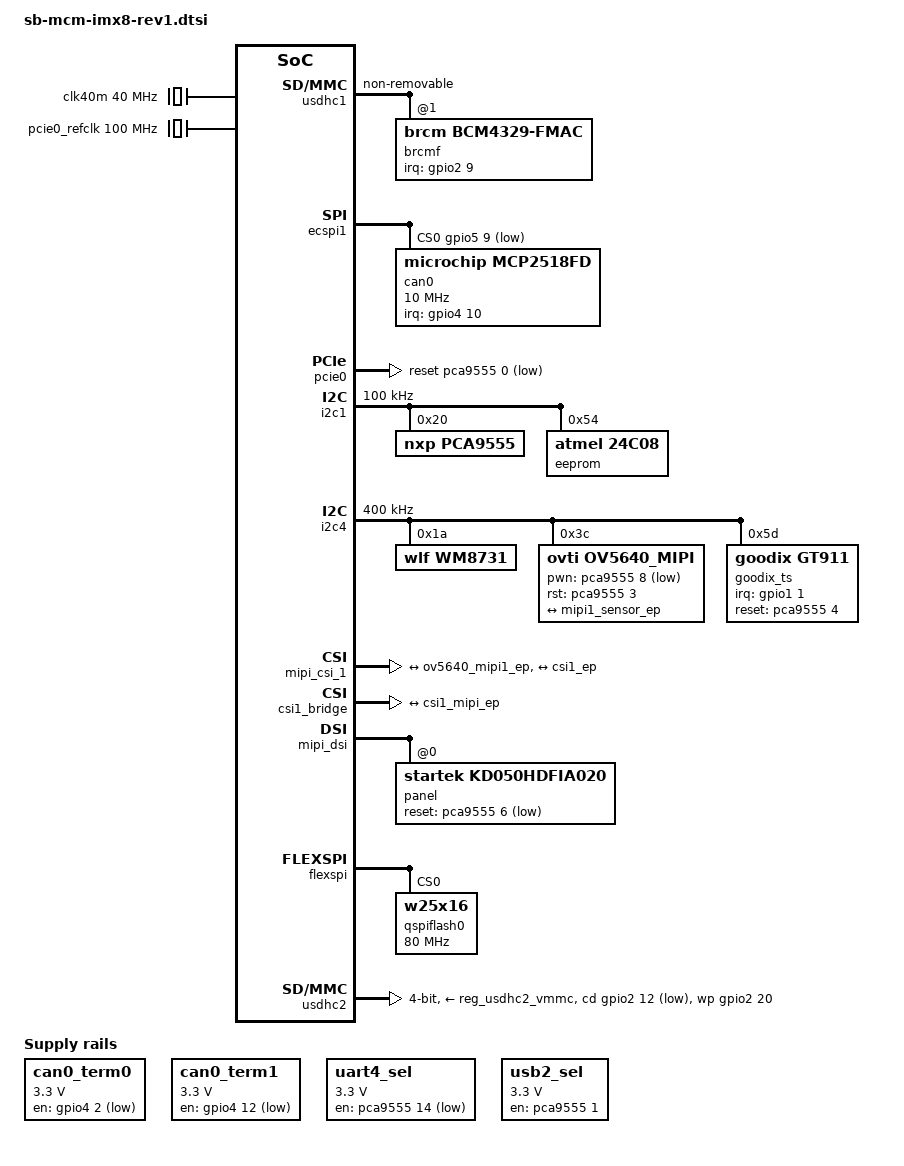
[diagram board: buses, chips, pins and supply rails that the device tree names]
/*
 * Copyright (C) 2018 CompuLab Ltd.
 *
 * This program is free software; you can redistribute it and/or
 * modify it under the terms of the GNU General Public License
 * as published by the Free Software Foundation; either version 2
 * of the License, or (at your option) any later version.
 *
 * This program is distributed in the hope that it will be useful,
 * but WITHOUT ANY WARRANTY; without even the implied warranty of
 * MERCHANTABILITY or FITNESS FOR A PARTICULAR PURPOSE. See the
 * GNU General Public License for more details.
 */

#include "../freescale/imx8mm-pinfunc.h"

/ {
	simple_sound: sound {
		compatible = "simple-audio-card";
		simple-audio-card,name = "cl-imx8m-mini";
		simple-audio-card,widgets =
			"Headphone", "Headphone Jack",
			"Line", "Line Out",
			"Microphone", "Mic Jack",
			"Line", "Line In";
		simple-audio-card,routing =
			"Headphone Jack", "RHPOUT",
			"Headphone Jack", "LHPOUT",
			"MICIN", "Mic Bias",
			"Mic Bias", "Mic Jack";
		simple-audio-card,format = "i2s";
		simple-audio-card,bitclock-master = <&sound_master>;
		simple-audio-card,frame-master = <&sound_master>;

		sound_master: simple-audio-card,cpu {
			sound-dai = <&sai2>;
			system-clock-frequency = <0>;
			system-clock-direction = "out";
		};

		sound_codec: simple-audio-card,codec {
			sound-dai = <&wm8731>;
			system-clock-direction = "in";
			system-clock-type = "mclk";
		};
	};

	clocks {
		clk40m: clk@1 {
			compatible = "fixed-clock";
			#reg = <1>;
			#clock-cells = <0>;
			clock-frequency = <40000000>;
			clock-output-names = "clk40m";
		};
	};

	regulator-can0term@0 {
		compatible = "regulator-fixed";
		regulator-name = "can0_term0";
		regulator-min-microvolt = <3300000>;
		regulator-max-microvolt = <3300000>;
		gpio = <&gpio4 2 GPIO_ACTIVE_LOW>;
		regulator-always-on;
		enable-active-low;
	};

	regulator-can0term@1 {
		compatible = "regulator-fixed";
		regulator-name = "can0_term1";
		regulator-min-microvolt = <3300000>;
		regulator-max-microvolt = <3300000>;
		gpio = <&gpio4 12 GPIO_ACTIVE_LOW>;
		regulator-always-on;
		enable-active-low;
	};

	uart4_sel: uart4sel {
		compatible = "regulator-fixed";
		regulator-name = "uart4_sel";
		regulator-min-microvolt = <3300000>;
		regulator-max-microvolt = <3300000>;
		gpio = <&pca9555 14 GPIO_ACTIVE_LOW>;
		regulator-always-on;
		enable-active-low;
	};

	usb2_sel: usb2sel {
		compatible = "regulator-fixed";
		regulator-name = "usb2_sel";
		regulator-min-microvolt = <3300000>;
		regulator-max-microvolt = <3300000>;
		gpio = <&pca9555 1 GPIO_ACTIVE_HIGH>;
		regulator-always-on;
		enable-active-high;
	};

	pcie0_refclk: pcie0-refclk {
		compatible = "fixed-clock";
		#clock-cells = <0>;
		clock-frequency = <100000000>;
	};
};

&usdhc1 {
	non-removable;
	pm-ignore-notify;
	cap-power-off-card;
	status = "okay";
	mmc-pwrseq = <&usdhc1_pwrseq>;

	brcmf: wifi@1 {
		reg = <1>;
		compatible = "brcm,bcm4329-fmac";
		interrupt-parent = <&gpio2>;
		interrupts = <9 IRQ_TYPE_LEVEL_HIGH>;
		interrupt-names = "host-wake";
	};
};

&iomuxc {
	sb-mcm-imx8 {
		pinctrl_ecspi1: ecspi1grp {
			fsl,pins = <
				MX8MM_IOMUXC_ECSPI1_SCLK_ECSPI1_SCLK	0x02
				MX8MM_IOMUXC_ECSPI1_MOSI_ECSPI1_MOSI	0x02
				MX8MM_IOMUXC_ECSPI1_MISO_ECSPI1_MISO	0x102
			>;
		};

		pinctrl_ecspi1_cs: ecspi1_csgrp {
			fsl,pins = <
				MX8MM_IOMUXC_ECSPI1_SS0_GPIO5_IO9	0x40000
			>;
		};

		pinctrl_can0: can0grp {
			fsl,pins = <
				MX8MM_IOMUXC_SAI1_TXFS_GPIO4_IO10	0x00
				MX8MM_IOMUXC_SAI1_TXD0_GPIO4_IO12	0x00
				MX8MM_IOMUXC_SAI1_RXD0_GPIO4_IO2	0x00
			>;
		};
		
		pinctrl_usdhc2_gpio: usdhc2grpgpio {
			fsl,pins = <
				MX8MM_IOMUXC_SD2_RESET_B_GPIO2_IO19	0x41
				MX8MM_IOMUXC_SD2_CD_B_GPIO2_IO12	0x41
				MX8MM_IOMUXC_SD2_WP_GPIO2_IO20		0x00
			>;
		};

		pinctrl_usdhc2: usdhc2grp {
			fsl,pins = <
				MX8MM_IOMUXC_SD2_CLK_USDHC2_CLK		0x190
				MX8MM_IOMUXC_SD2_CMD_USDHC2_CMD		0x1d0
				MX8MM_IOMUXC_SD2_DATA0_USDHC2_DATA0	0x1d0
				MX8MM_IOMUXC_SD2_DATA1_USDHC2_DATA1	0x1d0
				MX8MM_IOMUXC_SD2_DATA2_USDHC2_DATA2	0x1d0
				MX8MM_IOMUXC_SD2_DATA3_USDHC2_DATA3	0x1d0
				MX8MM_IOMUXC_GPIO1_IO04_USDHC2_VSELECT	0x1d0
			>;
		};

		pinctrl_usdhc2_100mhz: usdhc2grp100mhz {
			fsl,pins = <
				MX8MM_IOMUXC_SD2_CLK_USDHC2_CLK		0x194
				MX8MM_IOMUXC_SD2_CMD_USDHC2_CMD		0x1d4
				MX8MM_IOMUXC_SD2_DATA0_USDHC2_DATA0	0x1d4
				MX8MM_IOMUXC_SD2_DATA1_USDHC2_DATA1	0x1d4
				MX8MM_IOMUXC_SD2_DATA2_USDHC2_DATA2	0x1d4
				MX8MM_IOMUXC_SD2_DATA3_USDHC2_DATA3	0x1d4
				MX8MM_IOMUXC_GPIO1_IO04_USDHC2_VSELECT	0x1d0
			>;
		};

		pinctrl_usdhc2_200mhz: usdhc2grp200mhz {
			fsl,pins = <
				MX8MM_IOMUXC_SD2_CLK_USDHC2_CLK		0x196
				MX8MM_IOMUXC_SD2_CMD_USDHC2_CMD		0x1d6
				MX8MM_IOMUXC_SD2_DATA0_USDHC2_DATA0	0x1d6
				MX8MM_IOMUXC_SD2_DATA1_USDHC2_DATA1	0x1d6
				MX8MM_IOMUXC_SD2_DATA2_USDHC2_DATA2	0x1d6
				MX8MM_IOMUXC_SD2_DATA3_USDHC2_DATA3	0x1d6
				MX8MM_IOMUXC_GPIO1_IO04_USDHC2_VSELECT	0x1d0
			>;
		};
	};
};

&ecspi1 {
	#address-cells = <1>;
	#size-cells = <0>;
	fsl,spi-num-chipselects = <1>;
	pinctrl-names = "default";
	pinctrl-0 = <&pinctrl_ecspi1 &pinctrl_ecspi1_cs>;
	cs-gpios = <&gpio5 9 GPIO_ACTIVE_LOW>;
	status = "okay";

	can0: can@0 {
		compatible = "microchip,mcp2518fd";
		reg = <0>;
		pinctrl-names = "default";
		pinctrl-0 = <&pinctrl_can0>;
		interrupt-parent = <&gpio4>;
		interrupts = <10 IRQ_TYPE_LEVEL_LOW>;
		spi-max-frequency = <10000000>;
		clocks = <&clk40m>;
	};
};

&pcie0 {
	compatible = "fsl,imx8mm-pcie";
	reset-gpio = <&pca9555 0 GPIO_ACTIVE_LOW>;
	clocks = <&clk IMX8MM_CLK_PCIE1_ROOT>,
		 <&clk IMX8MM_CLK_PCIE1_AUX>,
		 <&clk IMX8MM_CLK_PCIE1_PHY>,
		 <&pcie0_refclk>;
	clock-names = "pcie", "pcie_aux", "pcie_phy", "pcie_bus";
	ext_osc = <1>;
	reserved-region = <&rpmsg_reserved>;
	status = "okay";
};

&i2c1 {
	clock-frequency = <100000>;
	pinctrl-names = "default";
	pinctrl-0 = <&pinctrl_i2c1>;
	status = "okay";

	pca9555:pca9555@20 {
		compatible = "nxp,pca9555";
		gpio-controller;
		#gpio-cells = <2>;
		reg = <0x20>;
	};

	eeprom@54 {
		compatible = "atmel,24c08";
		reg = <0x54>;
		pagesize = <16>;
	};
};

&i2c4 {
	clock-frequency = <400000>;
	pinctrl-names = "default";
	pinctrl-0 = <&pinctrl_i2c4>;
	status = "okay";

	wm8731: wm8731@1a {
		#sound-dai-cells = <0>;
		compatible = "wlf,wm8731";
		reg = <0x1a>;
		status = "okay";
	};

	ov5640_mipi: ov5640_mipi@3c {
		compatible = "ovti,ov5640_mipi";
		reg = <0x3c>;
		status = "okay";
		pinctrl-names = "default";
		pinctrl-0 = <&pinctrl_csi1>;
		clocks = <&clk IMX8MM_CLK_CLKO1>;
		clock-names = "csi_mclk";
		assigned-clocks = <&clk IMX8MM_CLK_CLKO1>;
		assigned-clock-parents = <&clk IMX8MM_CLK_24M>;
		assigned-clock-rates = <0>, <24000000>;
		csi_id = <0>;
		/*
		To be looked into & fixed
		As of now the device is alwas out of reset & under the power
		*/
		pwn-gpios = <&pca9555 8 GPIO_ACTIVE_LOW>;
		rst-gpios = <&pca9555 3 GPIO_ACTIVE_HIGH>;

		mclk = <24000000>;
		mclk_source = <0>;
		port {
			ov5640_mipi1_ep: endpoint {
				remote-endpoint = <&mipi1_sensor_ep>;
			};
		};
	};
	goodix_ts@5d {
		compatible = "goodix,gt911";
		reg = <0x5d>;

		interrupt-parent = <&gpio1>;
		interrupts = <1 IRQ_TYPE_LEVEL_HIGH>;

		pinctrl-names = "default";
		pinctrl-0 = <&touchscreen_pins>;

		irq-gpios = <&gpio1 1 GPIO_ACTIVE_HIGH>;
		reset-gpios = <&pca9555 4 GPIO_ACTIVE_HIGH>;
		status = "okay";
	};

};

&mipi_csi_1 {
	#address-cells = <1>;
	#size-cells = <0>;
	status = "okay";
	port {
		mipi1_sensor_ep: endpoint@1 {
			remote-endpoint = <&ov5640_mipi1_ep>;
			data-lanes = <2>;
			csis-hs-settle = <13>;
			csis-clk-settle = <2>;
			csis-wclk;
		};

		csi1_mipi_ep: endpoint@2 {
			remote-endpoint = <&csi1_ep>;
		};
	};
};

&csi1_bridge {
    fsl,mipi-mode;
    status = "okay";

    port {
        csi1_ep: endpoint {
            remote-endpoint = <&csi1_mipi_ep>;
        };
    };
};

&mipi_dsi {
	status = "okay";
	panel: panel@0 {
		compatible = "startek,kd050hdfia020";
		reg = <0>;
		reset-gpio = <&pca9555 6 GPIO_ACTIVE_LOW>;
		dsi-lanes = <4>;
		status = "okay";
	};
};

&flexspi {
	compatible = "fsl,imx8mm-flexspi";
	pinctrl-names = "default";
	pinctrl-0 = <&pinctrl_flexspi0>;
	status = "okay";

	qspiflash0: qspiflash@0 {
		reg = <0>;
		#address-cells = <1>;
		#size-cells = <1>;
		compatible = "w25x16", "jedec,spi-nor";
		spi-max-frequency = <80000000>;
		spi-nor,ddr-quad-read-dummy = <6>;
	};
};

&usdhc2 {
	pinctrl-names = "default", "state_100mhz", "state_200mhz";
	pinctrl-0 = <&pinctrl_usdhc2>, <&pinctrl_usdhc2_gpio>;
	pinctrl-1 = <&pinctrl_usdhc2_100mhz>, <&pinctrl_usdhc2_gpio>;
	pinctrl-2 = <&pinctrl_usdhc2_200mhz>, <&pinctrl_usdhc2_gpio>;
	cd-gpios = <&gpio2 12 GPIO_ACTIVE_LOW>;
	wp-gpios = <&gpio2 20 GPIO_ACTIVE_HIGH>;
	no-1-8-v;
	bus-width = <4>;
	vmmc-supply = <&reg_usdhc2_vmmc>;
	status = "okay";
};
